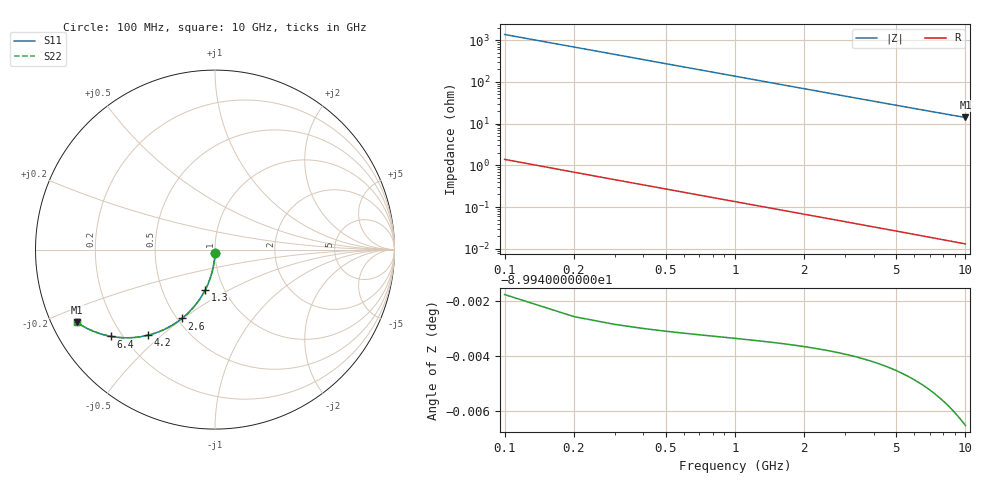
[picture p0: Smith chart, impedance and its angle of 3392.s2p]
# Hz S RI R 50.00
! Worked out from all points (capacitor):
!   100 points, 100 MHz to 10 GHz, reference 50 ohm
!   read as one part in shunt: C = 1.17 pF near 100 MHz
!   lowest |Z| = 14 ohm at 10 GHz (marker M1)
!   S11 on the Smith chart (normalised r, x): 100 MHz: 1.00, -0.04; 1.3 GHz: 0.82, -0.38; 2.6 GHz: 0.53, -0.49; 4.2 GHz: 0.30, -0.45; 6.4 GHz: 0.16, -0.36; 10 GHz: 0.07, -0.25
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1e8  -0.000325 -0.0182  0.9996 -0.0184  0.9996 -0.0184  -0.000325 -0.0182
2e8  -0.00135 -0.0363  0.9986 -0.0369  0.9986 -0.0369  -0.00135 -0.0363
3e8  -0.00303 -0.0543  0.9969 -0.0552  0.9969 -0.0552  -0.00303 -0.0543
4e8  -0.00538 -0.0722  0.9946 -0.0734  0.9946 -0.0734  -0.00538 -0.0722
5e8  -0.00837 -0.09  0.9916 -0.0915  0.9916 -0.0915  -0.00837 -0.09
6e8  -0.012 -0.1076  0.9879 -0.1094  0.9879 -0.1094  -0.012 -0.1076
7e8  -0.0162 -0.125  0.9837 -0.1271  0.9837 -0.1271  -0.0162 -0.125
8e8  -0.0211 -0.1422  0.9788 -0.1445  0.9788 -0.1445  -0.0211 -0.1422
1e9  -0.0326 -0.1756  0.9674 -0.1785  0.9674 -0.1785  -0.0326 -0.1756
1.3e9  -0.0537 -0.2232  0.9462 -0.227  0.9462 -0.227  -0.0537 -0.2232
1.5e9  -0.0703 -0.253  0.9297 -0.2574  0.9297 -0.2574  -0.0703 -0.253
1.8e9  -0.0981 -0.2944  0.9018 -0.2996  0.9018 -0.2996  -0.0981 -0.2944
2.2e9  -0.1397 -0.343  0.8603 -0.3494  0.8603 -0.3494  -0.1397 -0.343
2.6e9  -0.1847 -0.3838  0.8152 -0.3914  0.8152 -0.3914  -0.1847 -0.3838
3.4e9  -0.2791 -0.4431  0.7208 -0.4531  0.7208 -0.4531  -0.2791 -0.4431
4.2e9  -0.3712 -0.4764  0.6287 -0.4889  0.6287 -0.4889  -0.3712 -0.4764
5.1e9  -0.4652 -0.4907  0.5346 -0.5059  0.5346 -0.5059  -0.4652 -0.4907
6.4e9  -0.5781 -0.4838  0.4217 -0.5029  0.4217 -0.5029  -0.5781 -0.4838
6.7e9  -0.6003 -0.4793  0.3995 -0.4994  0.3995 -0.4994  -0.6003 -0.4793
7.5e9  -0.6531 -0.4641  0.3466 -0.4867  0.3466 -0.4867  -0.6531 -0.4641
8.4e9  -0.7026 -0.4438  0.297 -0.4692  0.297 -0.4692  -0.7026 -0.4438
1e10  -0.7704 -0.4046  0.229 -0.4352  0.229 -0.4352  -0.7704 -0.4046
